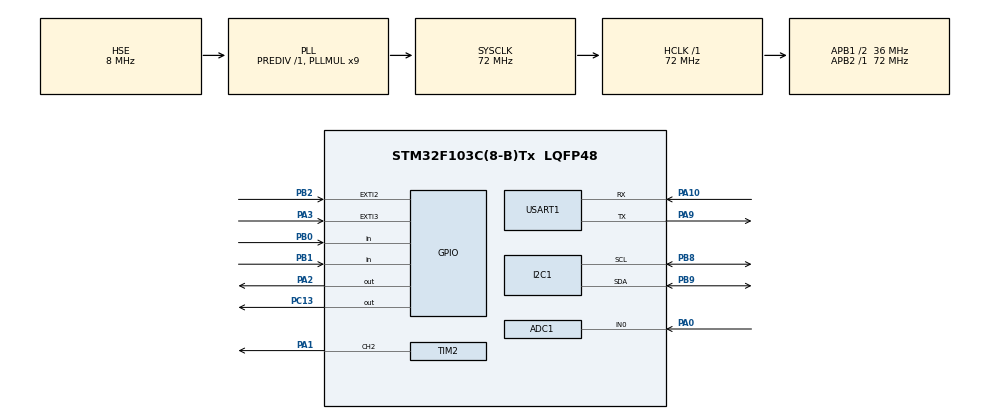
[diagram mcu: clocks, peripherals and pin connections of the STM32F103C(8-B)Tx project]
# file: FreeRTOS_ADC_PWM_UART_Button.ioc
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ADC1.Channel-0\#ChannelRegularConversion=ADC_CHANNEL_0
ADC1.Channel-1\#ChannelRegularConversion=ADC_CHANNEL_TEMPSENSOR
ADC1.Channel-2\#ChannelRegularConversion=ADC_CHANNEL_VREFINT
ADC1.ContinuousConvMode=ENABLE
ADC1.NbrOfConversion=3
ADC1.NbrOfConversionFlag=1
ADC1.Rank-0\#ChannelRegularConversion=1
ADC1.Rank-1\#ChannelRegularConversion=2
ADC1.Rank-2\#ChannelRegularConversion=3
ADC1.SamplingTime-0\#ChannelRegularConversion=ADC_SAMPLETIME_55CYCLES_5
ADC1.SamplingTime-1\#ChannelRegularConversion=ADC_SAMPLETIME_239CYCLES_5
ADC1.SamplingTime-2\#ChannelRegularConversion=ADC_SAMPLETIME_239CYCLES_5
ADC1.master=1
Dma.ADC1.0.Direction=DMA_PERIPH_TO_MEMORY
Dma.ADC1.0.Instance=DMA1_Channel1
Dma.ADC1.0.MemDataAlignment=DMA_MDATAALIGN_HALFWORD
Dma.ADC1.0.MemInc=DMA_MINC_ENABLE
Dma.ADC1.0.Mode=DMA_CIRCULAR
Dma.ADC1.0.PeriphDataAlignment=DMA_PDATAALIGN_HALFWORD
Dma.ADC1.0.PeriphInc=DMA_PINC_DISABLE
Dma.ADC1.0.Priority=DMA_PRIORITY_LOW
Dma.Request0=ADC1
FREERTOS.Tasks01=ButtonTask,0,128,StartButtonTask,Default,NULL,Dynamic,NULL,NULL;AdcTask,0,128,StartAdcTask,Default,NULL,Dynamic,NULL,NULL;LcdTask,0,128,StartLcdTask,Default,NULL,Dynamic,NULL,NULL;UartTask,0,128,StartUartTask,Default,NULL,Dynamic,NULL,NULL
Mcu.Family=STM32F1
Mcu.Name=STM32F103C(8-B)Tx
Mcu.Package=LQFP48
NVIC.ADC1_2_IRQn=true\:5\:0\:false\:false\:true\:true\:true\:true\:true
NVIC.DMA1_Channel1_IRQn=true\:5\:0\:false\:false\:true\:true\:false\:true\:true
NVIC.PriorityGroup=NVIC_PRIORITYGROUP_4
NVIC.USART1_IRQn=true\:5\:0\:false\:false\:true\:true\:true\:true\:true
PA0-WKUP.Signal=ADCx_IN0
PA1.Signal=S_TIM2_CH2
PA10.Mode=Asynchronous
PA10.Signal=USART1_RX
PA13.Mode=Serial_Wire
PA13.Signal=SYS_JTMS-SWDIO
PA14.Mode=Serial_Wire
PA14.Signal=SYS_JTCK-SWCLK
PA2.PinState=GPIO_PIN_SET
PA2.Signal=GPIO_Output
PA3.GPIO_PuPd=GPIO_PULLUP
PA3.Signal=GPXTI3
PA9.Mode=Asynchronous
PA9.Signal=USART1_TX
PB0.GPIO_PuPd=GPIO_PULLUP
PB0.Signal=GPIO_Input
PB1.GPIO_PuPd=GPIO_PULLUP
PB1.Signal=GPIO_Input
PB2.Signal=GPXTI2
PB8.Mode=I2C
PB8.Signal=I2C1_SCL
PB9.Mode=I2C
PB9.Signal=I2C1_SDA
PC13-TAMPER-RTC.PinState=GPIO_PIN_SET
PC13-TAMPER-RTC.Signal=GPIO_Output
PD0-OSC_IN.Mode=HSE-External-Oscillator
PD0-OSC_IN.Signal=RCC_OSC_IN
PD1-OSC_OUT.Mode=HSE-External-Oscillator
PD1-OSC_OUT.Signal=RCC_OSC_OUT
ProjectManager.HeapSize=0x200
ProjectManager.StackSize=0x400
ProjectManager.TargetToolchain=MDK-ARM V5.32
RCC.ADCPresc=RCC_ADCPCLK2_DIV6
RCC.AHBFreq_Value=72000000
RCC.APB1CLKDivider=RCC_HCLK_DIV2
RCC.APB1Freq_Value=36000000
RCC.APB1TimFreq_Value=72000000
RCC.APB2Freq_Value=72000000
RCC.APB2TimFreq_Value=72000000
RCC.HCLKFreq_Value=72000000
RCC.PLLMUL=RCC_PLL_MUL9
RCC.PLLSourceVirtual=RCC_PLLSOURCE_HSE
RCC.SYSCLKFreq_VALUE=72000000
RCC.SYSCLKSource=RCC_SYSCLKSOURCE_PLLCLK
RCC.USBFreq_Value=72000000
SH.ADCx_IN0.0=ADC1_IN0,IN0
SH.S_TIM2_CH2.0=TIM2_CH2,PWM Generation2 CH2
TIM2.Channel-PWM\ Generation2\ CH2=TIM_CHANNEL_2
TIM2.Period=999
TIM2.Prescaler=71
USART1.VirtualMode=VM_ASYNC
VP_ADC1_TempSens_Input.Mode=IN-TempSens
VP_ADC1_Vref_Input.Mode=IN-Vrefint
VP_FREERTOS_VS_CMSIS_V1.Mode=CMSIS_V1
board=custom

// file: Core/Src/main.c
/* USER CODE BEGIN Header */
/**
  ******************************************************************************
  * @file           : main.c
  * @brief          : Main program body
  ******************************************************************************
  * @attention
  *
  * Copyright (c) 2025 STMicroelectronics.
  * All rights reserved.
  *
  * This software is licensed under terms that can be found in the LICENSE file
  * in the root directory of this software component.
  * If no LICENSE file comes with this software, it is provided AS-IS.
  *
  ******************************************************************************
  */
/* USER CODE END Header */
#include "main.h"
#include "cmsis_os.h"
#include "stdio.h"
#include "string.h"
#include "lcd_i2c.h"

ADC_HandleTypeDef hadc1;
DMA_HandleTypeDef hdma_adc1;

I2C_HandleTypeDef hi2c1;

TIM_HandleTypeDef htim2;

UART_HandleTypeDef huart1;

osThreadId ButtonTaskHandle;
osThreadId AdcTaskHandle;
osThreadId LcdTaskHandle;
osThreadId UartTaskHandle;
/* USER CODE BEGIN PV */
extern TIM_HandleTypeDef htim2;
/* USER CODE END PV */

void SystemClock_Config(void);
static void MX_GPIO_Init(void);
static void MX_DMA_Init(void);
static void MX_ADC1_Init(void);
static void MX_I2C1_Init(void);
static void MX_TIM2_Init(void);
static void MX_USART1_UART_Init(void);
void StartButtonTask(void const * argument);
void StartAdcTask(void const * argument);
void StartLcdTask(void const * argument);
void StartUartTask(void const * argument);

/* USER CODE BEGIN PFP */
volatile uint32_t pwm_val = 0;
#define VREFINT_TYPICAL 1.20f     // �i?n �p tham chi?u n?i 1.2V
#define V25 1.43f                 // �i?n �p t?i 25 d? C t? datasheet STM32
#define AVG_SLOPE 0.0043f         // H? s? d? d?c nhi?t d? (V/�C)

#define ADC_BUFFER_SIZE 3
uint16_t adc_buffer[ADC_BUFFER_SIZE];  // 0 = CH0, 1 = TempSensor, 2 = VrefInt

float adc_val = 0;      // Gi� tr? di?n �p c?a k�nh ADC 0
float temperature = 0;   // Nhi?t d? sau t�nh to�n
float vref_real = 3.3f;  // Gi� tr? Vref th?c t? sau t�nh t? VrefInt

#define RX_BUFFER_SIZE 32
uint8_t rx_buffer[RX_BUFFER_SIZE];

char led_status_text[8] = "LED: OFF"; // Mặc định ban đầu là OFF
/* USER CODE END PFP */

int main(void)
{

  /* MCU Configuration--------------------------------------------------------*/

  /* Reset of all peripherals, Initializes the Flash interface and the Systick. */
  HAL_Init();

  /* Configure the system clock */
  SystemClock_Config();

  /* Initialize all configured peripherals */
  MX_GPIO_Init();
  MX_DMA_Init();
  MX_ADC1_Init();
  MX_I2C1_Init();
  MX_TIM2_Init();
  MX_USART1_UART_Init();
  /* USER CODE BEGIN 2 */
	HAL_TIM_PWM_Start(&htim2, TIM_CHANNEL_2);
	__HAL_TIM_SET_COMPARE(&htim2, TIM_CHANNEL_2, pwm_val);
  /* USER CODE END 2 */

  /* Create the thread(s) */
  /* definition and creation of ButtonTask */
  osThreadDef(ButtonTask, StartButtonTask, osPriorityNormal, 0, 128);
  ButtonTaskHandle = osThreadCreate(osThread(ButtonTask), NULL);

  /* definition and creation of AdcTask */
  osThreadDef(AdcTask, StartAdcTask, osPriorityNormal, 0, 128);
  AdcTaskHandle = osThreadCreate(osThread(AdcTask), NULL);

  /* definition and creation of LcdTask */
  osThreadDef(LcdTask, StartLcdTask, osPriorityNormal, 0, 128);
  LcdTaskHandle = osThreadCreate(osThread(LcdTask), NULL);

  /* definition and creation of UartTask */
  osThreadDef(UartTask, StartUartTask, osPriorityNormal, 0, 128);
  UartTaskHandle = osThreadCreate(osThread(UartTask), NULL);

  /* Start scheduler */
  osKernelStart();

  /* We should never get here as control is now taken by the scheduler */

  /* Infinite loop */
  while (1)
  {

  }
}

void SystemClock_Config(void)
{
  RCC_OscInitTypeDef RCC_OscInitStruct = {0};
  RCC_ClkInitTypeDef RCC_ClkInitStruct = {0};
  RCC_PeriphCLKInitTypeDef PeriphClkInit = {0};

  /** Initializes the RCC Oscillators according to the specified parameters
  * in the RCC_OscInitTypeDef structure.
  */
  RCC_OscInitStruct.OscillatorType = RCC_OSCILLATORTYPE_HSE;
  RCC_OscInitStruct.HSEState = RCC_HSE_ON;
  RCC_OscInitStruct.HSEPredivValue = RCC_HSE_PREDIV_DIV1;
  RCC_OscInitStruct.HSIState = RCC_HSI_ON;
  RCC_OscInitStruct.PLL.PLLState = RCC_PLL_ON;
  RCC_OscInitStruct.PLL.PLLSource = RCC_PLLSOURCE_HSE;
  RCC_OscInitStruct.PLL.PLLMUL = RCC_PLL_MUL9;
  if (HAL_RCC_OscConfig(&RCC_OscInitStruct) != HAL_OK)
  {
    Error_Handler();
  }

  /** Initializes the CPU, AHB and APB buses clocks
  */
  RCC_ClkInitStruct.ClockType = RCC_CLOCKTYPE_HCLK|RCC_CLOCKTYPE_SYSCLK
                              |RCC_CLOCKTYPE_PCLK1|RCC_CLOCKTYPE_PCLK2;
  RCC_ClkInitStruct.SYSCLKSource = RCC_SYSCLKSOURCE_PLLCLK;
  RCC_ClkInitStruct.AHBCLKDivider = RCC_SYSCLK_DIV1;
  RCC_ClkInitStruct.APB1CLKDivider = RCC_HCLK_DIV2;
  RCC_ClkInitStruct.APB2CLKDivider = RCC_HCLK_DIV1;

  if (HAL_RCC_ClockConfig(&RCC_ClkInitStruct, FLASH_LATENCY_2) != HAL_OK)
  {
    Error_Handler();
  }
  PeriphClkInit.PeriphClockSelection = RCC_PERIPHCLK_ADC;
  PeriphClkInit.AdcClockSelection = RCC_ADCPCLK2_DIV6;
  if (HAL_RCCEx_PeriphCLKConfig(&PeriphClkInit) != HAL_OK)
  {
    Error_Handler();
  }
}

static void MX_ADC1_Init(void)
{

  ADC_ChannelConfTypeDef sConfig = {0};

  /** Common config
  */
  hadc1.Instance = ADC1;
  hadc1.Init.ScanConvMode = ADC_SCAN_ENABLE;
  hadc1.Init.ContinuousConvMode = ENABLE;
  hadc1.Init.DiscontinuousConvMode = DISABLE;
  hadc1.Init.ExternalTrigConv = ADC_SOFTWARE_START;
  hadc1.Init.DataAlign = ADC_DATAALIGN_RIGHT;
  hadc1.Init.NbrOfConversion = 3;
  if (HAL_ADC_Init(&hadc1) != HAL_OK)
  {
    Error_Handler();
  }

  /** Configure Regular Channel
  */
  sConfig.Channel = ADC_CHANNEL_0;
  sConfig.Rank = ADC_REGULAR_RANK_1;
  sConfig.SamplingTime = ADC_SAMPLETIME_55CYCLES_5;
  if (HAL_ADC_ConfigChannel(&hadc1, &sConfig) != HAL_OK)
  {
    Error_Handler();
  }

  /** Configure Regular Channel
  */
  sConfig.Channel = ADC_CHANNEL_TEMPSENSOR;
  sConfig.Rank = ADC_REGULAR_RANK_2;
  sConfig.SamplingTime = ADC_SAMPLETIME_239CYCLES_5;
  if (HAL_ADC_ConfigChannel(&hadc1, &sConfig) != HAL_OK)
  {
    Error_Handler();
  }

  /** Configure Regular Channel
  */
  sConfig.Channel = ADC_CHANNEL_VREFINT;
  sConfig.Rank = ADC_REGULAR_RANK_3;
  if (HAL_ADC_ConfigChannel(&hadc1, &sConfig) != HAL_OK)
  {
    Error_Handler();
  }

}

static void MX_I2C1_Init(void)
{

  hi2c1.Instance = I2C1;
  hi2c1.Init.ClockSpeed = 100000;
  hi2c1.Init.DutyCycle = I2C_DUTYCYCLE_2;
  hi2c1.Init.OwnAddress1 = 0;
  hi2c1.Init.AddressingMode = I2C_ADDRESSINGMODE_7BIT;
  hi2c1.Init.DualAddressMode = I2C_DUALADDRESS_DISABLE;
  hi2c1.Init.OwnAddress2 = 0;
  hi2c1.Init.GeneralCallMode = I2C_GENERALCALL_DISABLE;
  hi2c1.Init.NoStretchMode = I2C_NOSTRETCH_DISABLE;
  if (HAL_I2C_Init(&hi2c1) != HAL_OK)
  {
    Error_Handler();
  }

}

static void MX_TIM2_Init(void)
{

  TIM_MasterConfigTypeDef sMasterConfig = {0};
  TIM_OC_InitTypeDef sConfigOC = {0};

  htim2.Instance = TIM2;
  htim2.Init.Prescaler = 71;
  htim2.Init.CounterMode = TIM_COUNTERMODE_UP;
  htim2.Init.Period = 999;
  htim2.Init.ClockDivision = TIM_CLOCKDIVISION_DIV1;
  htim2.Init.AutoReloadPreload = TIM_AUTORELOAD_PRELOAD_DISABLE;
  if (HAL_TIM_PWM_Init(&htim2) != HAL_OK)
  {
    Error_Handler();
  }
  sMasterConfig.MasterOutputTrigger = TIM_TRGO_RESET;
  sMasterConfig.MasterSlaveMode = TIM_MASTERSLAVEMODE_DISABLE;
  if (HAL_TIMEx_MasterConfigSynchronization(&htim2, &sMasterConfig) != HAL_OK)
  {
    Error_Handler();
  }
  sConfigOC.OCMode = TIM_OCMODE_PWM1;
  sConfigOC.Pulse = 0;
  sConfigOC.OCPolarity = TIM_OCPOLARITY_HIGH;
  sConfigOC.OCFastMode = TIM_OCFAST_DISABLE;
  if (HAL_TIM_PWM_ConfigChannel(&htim2, &sConfigOC, TIM_CHANNEL_2) != HAL_OK)
  {
    Error_Handler();
  }
  HAL_TIM_MspPostInit(&htim2);

}

static void MX_USART1_UART_Init(void)
{

  huart1.Instance = USART1;
  huart1.Init.BaudRate = 115200;
  huart1.Init.WordLength = UART_WORDLENGTH_8B;
  huart1.Init.StopBits = UART_STOPBITS_1;
  huart1.Init.Parity = UART_PARITY_NONE;
  huart1.Init.Mode = UART_MODE_TX_RX;
  huart1.Init.HwFlowCtl = UART_HWCONTROL_NONE;
  huart1.Init.OverSampling = UART_OVERSAMPLING_16;
  if (HAL_UART_Init(&huart1) != HAL_OK)
  {
    Error_Handler();
  }

}

static void MX_DMA_Init(void)
{

  /* DMA controller clock enable */
  __HAL_RCC_DMA1_CLK_ENABLE();

  /* DMA interrupt init */
  /* DMA1_Channel1_IRQn interrupt configuration */
  HAL_NVIC_SetPriority(DMA1_Channel1_IRQn, 5, 0);
  HAL_NVIC_EnableIRQ(DMA1_Channel1_IRQn);

}

static void MX_GPIO_Init(void)
{
  GPIO_InitTypeDef GPIO_InitStruct = {0};

  /* GPIO Ports Clock Enable */
  __HAL_RCC_GPIOC_CLK_ENABLE();
  __HAL_RCC_GPIOD_CLK_ENABLE();
  __HAL_RCC_GPIOA_CLK_ENABLE();
  __HAL_RCC_GPIOB_CLK_ENABLE();

  /*Configure GPIO pin Output Level */
  HAL_GPIO_WritePin(GPIOC, GPIO_PIN_13, GPIO_PIN_SET);

  /*Configure GPIO pin Output Level */
  HAL_GPIO_WritePin(GPIOA, GPIO_PIN_2, GPIO_PIN_RESET);

  /*Configure GPIO pin : PC13 */
  GPIO_InitStruct.Pin = GPIO_PIN_13;
  GPIO_InitStruct.Mode = GPIO_MODE_OUTPUT_PP;
  GPIO_InitStruct.Pull = GPIO_NOPULL;
  GPIO_InitStruct.Speed = GPIO_SPEED_FREQ_LOW;
  HAL_GPIO_Init(GPIOC, &GPIO_InitStruct);

  /*Configure GPIO pin : PA2 */
  GPIO_InitStruct.Pin = GPIO_PIN_2;
  GPIO_InitStruct.Mode = GPIO_MODE_OUTPUT_PP;
  GPIO_InitStruct.Pull = GPIO_NOPULL;
  GPIO_InitStruct.Speed = GPIO_SPEED_FREQ_LOW;
  HAL_GPIO_Init(GPIOA, &GPIO_InitStruct);

  /*Configure GPIO pin : PA3 */
  GPIO_InitStruct.Pin = GPIO_PIN_3;
  GPIO_InitStruct.Mode = GPIO_MODE_IT_RISING;
  GPIO_InitStruct.Pull = GPIO_PULLUP;
  HAL_GPIO_Init(GPIOA, &GPIO_InitStruct);

  /*Configure GPIO pins : PB0 PB1 */
  GPIO_InitStruct.Pin = GPIO_PIN_0|GPIO_PIN_1;
  GPIO_InitStruct.Mode = GPIO_MODE_INPUT;
  GPIO_InitStruct.Pull = GPIO_PULLUP;
  HAL_GPIO_Init(GPIOB, &GPIO_InitStruct);

  /*Configure GPIO pin : PB2 */
  GPIO_InitStruct.Pin = GPIO_PIN_2;
  GPIO_InitStruct.Mode = GPIO_MODE_IT_RISING;
  GPIO_InitStruct.Pull = GPIO_NOPULL;
  HAL_GPIO_Init(GPIOB, &GPIO_InitStruct);

}

void StartButtonTask(void const * argument) {
    for (;;) {
        // Nút tăng: PB0
        if (HAL_GPIO_ReadPin(GPIOB, GPIO_PIN_0) == GPIO_PIN_RESET) {
            osDelay(20);
            if (HAL_GPIO_ReadPin(GPIOB, GPIO_PIN_0) == GPIO_PIN_RESET) {
                pwm_val += 200;
                if (pwm_val > 1000) pwm_val = 1000;
                __HAL_TIM_SET_COMPARE(&htim2, TIM_CHANNEL_2, pwm_val);
                while (HAL_GPIO_ReadPin(GPIOB, GPIO_PIN_0) == GPIO_PIN_RESET)
                    osDelay(10);
            }
        }

        // Nút giảm: PB1
        if (HAL_GPIO_ReadPin(GPIOB, GPIO_PIN_1) == GPIO_PIN_RESET) {
            osDelay(20);
            if (HAL_GPIO_ReadPin(GPIOB, GPIO_PIN_1) == GPIO_PIN_RESET) {
                if (pwm_val >= 200) pwm_val -= 200;
                else pwm_val = 0;
                __HAL_TIM_SET_COMPARE(&htim2, TIM_CHANNEL_2, pwm_val);
                while (HAL_GPIO_ReadPin(GPIOB, GPIO_PIN_1) == GPIO_PIN_RESET)
                    osDelay(10);
            }
        }

        osDelay(10);
    }
}

void StartAdcTask(void const * argument)
{
  /* USER CODE BEGIN StartAdcTask */
  /* Infinite loop */
	HAL_ADC_Start_DMA(&hadc1, (uint32_t*)adc_buffer, ADC_BUFFER_SIZE);  // ?? start DMA once
	for (;;)
	{
			// T�nh Vref th?c
			vref_real = VREFINT_TYPICAL * 4096.0f / adc_buffer[2];

			// T�nh di?n �p k�nh 0
			adc_val = (float)adc_buffer[0] * vref_real / 4096.0f;

			// T�nh nhi?t d? t? c?m bi?n n?i
			float vtemp = (float)adc_buffer[1] * vref_real / 4096.0f;
			temperature = (V25 - vtemp) / AVG_SLOPE + 25.0f;

			osDelay(500);
	}
  /* USER CODE END StartAdcTask */
}

void StartLcdTask(void const * argument)
{
  /* USER CODE BEGIN StartLcdTask */
  /* Infinite loop */
	  char line1[17], line2[17], line2_10[17];
    LCD_Init();
    LCD_Clear();
    for (;;) {
			snprintf(line1, 17, "PWM:%3u%%", pwm_val / 10);
			snprintf(line2, 17, "ADC:%.2f", adc_val);
			snprintf(line2_10, 17, "T:%.1f", temperature);
			LCD_Set_Cursor(0, 0); LCD_Send_String(line1);
			LCD_Set_Cursor(0, 9); LCD_Send_String(led_status_text); // LED status
			LCD_Set_Cursor(1, 0); LCD_Send_String(line2);
			LCD_Set_Cursor(1, 10); LCD_Send_String(line2_10);
			osDelay(500);
    }
  /* USER CODE END StartLcdTask */
}

void StartUartTask(void const * argument)
{
  char msg[RX_BUFFER_SIZE];
  uint8_t ch;
  uint8_t index = 0;

  while (1)
  {
    HAL_UART_Receive(&huart1, &ch, 1, HAL_MAX_DELAY);

    if (index < RX_BUFFER_SIZE - 1)
    {
      rx_buffer[index++] = ch;
      rx_buffer[index] = '\0'; // đảm bảo kết thúc chuỗi
    }

    // Khi chuỗi nhận đủ 6–7 ký tự thì xử lý luôn
    if (strstr((char*)rx_buffer, "LED ON") != NULL)
    {
//      HAL_GPIO_WritePin(GPIOC, GPIO_PIN_13, GPIO_PIN_RESET);
			HAL_GPIO_WritePin(GPIOA, GPIO_PIN_2, GPIO_PIN_SET);
			strcpy(led_status_text, "LED:ON "); // lưu trạng thái
      strcpy((char*)msg, "LED turned ON\r\n");
      HAL_UART_Transmit(&huart1, (uint8_t*)msg, strlen(msg), HAL_MAX_DELAY);
      index = 0;
      memset(rx_buffer, 0, RX_BUFFER_SIZE);
    }
    else if (strstr((char*)rx_buffer, "LED OFF") != NULL)
    {
//      HAL_GPIO_WritePin(GPIOC, GPIO_PIN_13, GPIO_PIN_SET);
			HAL_GPIO_WritePin(GPIOA, GPIO_PIN_2, GPIO_PIN_RESET);
			strcpy(led_status_text, "LED:OFF"); // lưu trạng thái
      strcpy((char*)msg, "LED turned OFF\r\n");
      HAL_UART_Transmit(&huart1, (uint8_t*)msg, strlen(msg), HAL_MAX_DELAY);
      index = 0;
      memset(rx_buffer, 0, RX_BUFFER_SIZE);
    }
    else if (index >= 8) // Không phải lệnh hợp lệ, nhưng dài quá
    {
      strcpy((char*)msg, "Unknown command\r\n");
      HAL_UART_Transmit(&huart1, (uint8_t*)msg, strlen(msg), HAL_MAX_DELAY);
      index = 0;
      memset(rx_buffer, 0, RX_BUFFER_SIZE);
    }
  }
}

void Error_Handler(void)
{
  __disable_irq();
  while (1)
  {
  }
}
